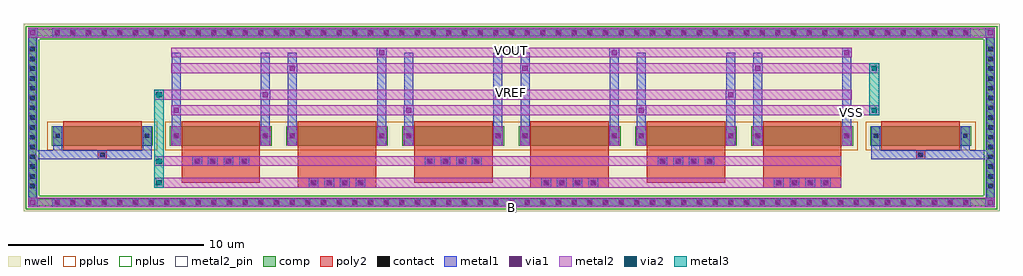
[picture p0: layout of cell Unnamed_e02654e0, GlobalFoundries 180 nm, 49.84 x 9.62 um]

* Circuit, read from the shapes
.subckt Unnamed_e02654e0 B VOUT VREF VSS
XM1 B B B B pfet_03v3 w=1u l=4u m=2
XM2 VREF VREF VSS B pfet_03v3 w=1u l=4u m=3
XM3 VOUT VREF VSS B pfet_03v3 w=1u l=4u m=3
.ends

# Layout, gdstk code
import gdstk
lib = gdstk.Library(unit=1e-6, precision=5e-09)
def R(c, l, rs):  # rectangles x0, y0, x1, y1
    for r in rs: c.add(gdstk.rectangle(r[:2], r[2:], *l))
def A(c, l, x, y, w, h, nx, ny, dx, dy):  # array of equal rectangles
    R(c, l, [(x+i*dx, y+j*dy, x+i*dx+w, y+j*dy+h) for i in range(nx) for j in range(ny)])
def P(c, l, *ps):  # polygons
    for p in ps: c.add(gdstk.Polygon(p, *l))
nwell = (21, 0)
comp = (22, 0)
poly2 = (30, 0)
pplus = (31, 0)
nplus = (32, 0)
contact = (33, 0)
metal1 = (34, 0)
via1 = (35, 0)
metal2 = (36, 0)
metal2_pin = (36, 10)
via2 = (38, 0)
metal3 = (42, 0)

unnamed_e02654e0 = lib.new_cell('Unnamed_e02654e0')
R(unnamed_e02654e0, nwell, [(-24.92,-4.79,24.92,4.79), (-24.76,-4.63,24.76,4.63), (-23.82,-3.69,23.82,3.69)])
A(unnamed_e02654e0, comp, -23.38, -4.51, 0.36, 0.36, 59, 2, 0.8, 8.66)
A(unnamed_e02654e0, comp, -24.64, -3.68, 0.36, 0.36, 1, 15, 0, 0.5)
A(unnamed_e02654e0, comp, 24.28, -3.68, 0.36, 0.36, 1, 15, 0, 0.5)
A(unnamed_e02654e0, comp, -17.45, -1.43, 5.2, 1, 6, 1, 5.94, 0)
R(unnamed_e02654e0, comp, [(-23.38,-4.51,23.38,-4.15), (-24.64,-3.68,-24.28,3.68), (24.28,-3.68,24.64,3.68), (-23.47,-1.43,-18.31,-0.43), (18.31,-1.43,23.47,-0.43), (-23.38,4.15,23.38,4.51)])
P(unnamed_e02654e0, comp, [(24.64,4.51),(-24.64,4.51),(-24.64,-4.15),(-24.28,-4.15),(-24.28,4.15),(24.28,4.15),(24.28,-4.15),(-24.28,-4.15),(-24.64,-4.15),(-24.64,-4.51),(24.64,-4.51)])
A(unnamed_e02654e0, poly2, -10.91, -3.57, 4, 0.5, 3, 1, 11.88, 0)
A(unnamed_e02654e0, poly2, -10.29, -3.5, 0.36, 0.36, 4, 1, 0.8, 0)
A(unnamed_e02654e0, poly2, 1.59, -3.5, 0.36, 0.36, 4, 1, 0.8, 0)
A(unnamed_e02654e0, poly2, 13.47, -3.5, 0.36, 0.36, 4, 1, 0.8, 0)
A(unnamed_e02654e0, poly2, -16.85, -3.32, 4, 1.65, 3, 1, 11.88, 0)
A(unnamed_e02654e0, poly2, -10.91, -3.07, 4, 1.4, 3, 1, 11.88, 0)
A(unnamed_e02654e0, poly2, -16.85, -2.47, 4, 0.5, 3, 1, 11.88, 0)
A(unnamed_e02654e0, poly2, -16.23, -2.4, 0.36, 0.36, 4, 1, 0.8, 0)
A(unnamed_e02654e0, poly2, -4.35, -2.4, 0.36, 0.36, 4, 1, 0.8, 0)
A(unnamed_e02654e0, poly2, 7.53, -2.4, 0.36, 0.36, 4, 1, 0.8, 0)
A(unnamed_e02654e0, poly2, -16.85, -1.97, 4, 0.3, 3, 1, 11.88, 0)
A(unnamed_e02654e0, poly2, -16.85, -1.67, 4, 1.48, 6, 1, 5.94, 0)
R(unnamed_e02654e0, poly2, [(-21.12,-2.13,-20.66,-1.67), (20.66,-2.13,21.12,-1.67), (-21.07,-2.08,-20.71,-1.72), (20.71,-2.08,21.07,-1.72), (-22.89,-1.67,-18.89,-0.19), (18.89,-1.67,22.89,-0.19)])
A(unnamed_e02654e0, pplus, -17.68, -1.66, 5.66, 1.46, 6, 1, 5.94, 0)
R(unnamed_e02654e0, pplus, [(-23.7,-1.66,-18.08,-0.2), (-17.68,-1.66,17.68,-0.2), (18.08,-1.66,23.7,-0.2)])
P(unnamed_e02654e0, nplus, [(24.8,4.67),(-24.8,4.67),(-24.8,-3.99),(-24.12,-3.99),(-24.12,3.99),(24.12,3.99),(24.12,-3.99),(-24.12,-3.99),(-24.8,-3.99),(-24.8,-4.67),(24.8,-4.67)])
A(unnamed_e02654e0, contact, -23.31, -4.44, 0.22, 0.22, 59, 2, 0.8, 8.66)
A(unnamed_e02654e0, contact, -24.57, -3.61, 0.22, 0.22, 1, 15, 0, 0.5)
A(unnamed_e02654e0, contact, 24.35, -3.61, 0.22, 0.22, 1, 15, 0, 0.5)
A(unnamed_e02654e0, contact, -10.22, -3.43, 0.22, 0.22, 4, 1, 0.8, 0)
A(unnamed_e02654e0, contact, 1.66, -3.43, 0.22, 0.22, 4, 1, 0.8, 0)
A(unnamed_e02654e0, contact, 13.54, -3.43, 0.22, 0.22, 4, 1, 0.8, 0)
A(unnamed_e02654e0, contact, -16.16, -2.33, 0.22, 0.22, 4, 1, 0.8, 0)
A(unnamed_e02654e0, contact, -4.28, -2.33, 0.22, 0.22, 4, 1, 0.8, 0)
A(unnamed_e02654e0, contact, 7.6, -2.33, 0.22, 0.22, 4, 1, 0.8, 0)
R(unnamed_e02654e0, contact, [(-21,-2.01,-20.78,-1.79), (20.78,-2.01,21,-1.79), (-23.28,-1.04,-23.06,-0.82), (-18.72,-1.04,-18.5,-0.82), (-17.24,-1.04,-17.02,-0.82), (-12.68,-1.04,-12.46,-0.82), (-11.3,-1.04,-11.08,-0.82), (-6.74,-1.04,-6.52,-0.82), (-5.36,-1.04,-5.14,-0.82), (-0.8,-1.04,-0.58,-0.82), (0.58,-1.04,0.8,-0.82), (5.14,-1.04,5.36,-0.82), (6.52,-1.04,6.74,-0.82), (11.08,-1.04,11.3,-0.82), (12.46,-1.04,12.68,-0.82), (17.02,-1.04,17.24,-0.82), (18.5,-1.04,18.72,-0.82), (23.06,-1.04,23.28,-0.82)])
A(unnamed_e02654e0, metal1, -23.45, -4.58, 0.5, 0.5, 59, 2, 0.8, 8.66)
A(unnamed_e02654e0, metal1, -24.69, -3.73, 0.46, 0.46, 1, 15, 0, 0.5)
A(unnamed_e02654e0, metal1, 24.23, -3.73, 0.46, 0.46, 1, 15, 0, 0.5)
A(unnamed_e02654e0, metal1, -10.36, -3.57, 0.5, 0.5, 4, 1, 0.8, 0)
A(unnamed_e02654e0, metal1, 1.52, -3.57, 0.5, 0.5, 4, 1, 0.8, 0)
A(unnamed_e02654e0, metal1, 13.4, -3.57, 0.5, 0.5, 4, 1, 0.8, 0)
A(unnamed_e02654e0, metal1, -16.3, -2.47, 0.5, 0.5, 4, 1, 0.8, 0)
A(unnamed_e02654e0, metal1, -4.42, -2.47, 0.5, 0.5, 4, 1, 0.8, 0)
A(unnamed_e02654e0, metal1, 7.46, -2.47, 0.5, 0.5, 4, 1, 0.8, 0)
A(unnamed_e02654e0, metal1, -17.36, -0.43, 0.46, 1.05, 3, 1, 11.88, 0)
A(unnamed_e02654e0, metal1, -12.8, -0.43, 0.46, 1.85, 3, 1, 11.88, 0)
A(unnamed_e02654e0, metal1, -11.42, -0.43, 0.46, 3.2, 3, 1, 11.88, 0)
A(unnamed_e02654e0, metal1, -6.86, -0.43, 0.46, 4, 3, 1, 11.88, 0)
A(unnamed_e02654e0, metal1, -17.38, 0.12, 0.5, 0.5, 3, 1, 11.88, 0)
A(unnamed_e02654e0, metal1, -12.82, 0.92, 0.5, 0.5, 3, 1, 11.88, 0)
A(unnamed_e02654e0, metal1, -11.44, 2.27, 0.5, 0.5, 3, 1, 11.88, 0)
A(unnamed_e02654e0, metal1, -6.88, 3.07, 0.5, 0.5, 3, 1, 11.88, 0)
R(unnamed_e02654e0, metal1, [(-24.69,-4.58,-24.19,-4.08), (-24.69,-4.58,-24.19,-4.08), (-24.69,-4.58,-24.23,-4.15), (-23.45,-4.58,23.45,-4.08), (24.19,-4.58,24.69,-4.08), (24.19,-4.58,24.69,-4.08), (24.23,-4.58,24.69,-4.15), (-24.69,-4.15,-24.23,4.15), (24.23,-4.15,24.69,4.15), (-24.69,-2.13,-21.12,-1.67), (-23.4,-2.13,-21.12,-1.67), (-23.4,-2.13,-22.94,-1.43), (-21.12,-2.13,-20.66,-1.67), (-20.66,-2.13,-18.38,-1.67), (-18.84,-2.13,-18.38,-1.43), (18.38,-2.13,20.66,-1.67), (18.38,-2.13,18.84,-1.43), (20.66,-2.13,21.12,-1.67), (21.12,-2.13,23.4,-1.67), (21.12,-2.13,24.69,-1.67), (22.94,-2.13,23.4,-1.43), (-23.4,-1.43,-22.94,-0.43), (-18.84,-1.43,-18.38,-0.43), (-17.36,-1.43,-16.9,-0.43), (-12.8,-1.43,-12.34,-0.43), (-11.42,-1.43,-10.96,-0.43), (-6.86,-1.43,-6.4,-0.43), (-5.48,-1.43,-5.02,-0.43), (-0.92,-1.43,-0.46,-0.43), (0.46,-1.43,0.92,-0.43), (5.02,-1.43,5.48,-0.43), (6.4,-1.43,6.86,-0.43), (10.96,-1.43,11.42,-0.43), (12.34,-1.43,12.8,-0.43), (16.9,-1.43,17.36,-0.43), (18.38,-1.43,18.84,-0.43), (22.94,-1.43,23.4,-0.43), (-17.38,-1.18,-16.88,-0.68), (-17.38,-1.18,-16.88,-0.68), (-12.82,-1.18,-12.32,-0.68), (-12.82,-1.18,-12.32,-0.68), (-11.44,-1.18,-10.94,-0.68), (-11.44,-1.18,-10.94,-0.68), (-6.88,-1.18,-6.38,-0.68), (-6.88,-1.18,-6.38,-0.68), (-5.5,-1.18,-5,-0.68), (-5.5,-1.18,-5,-0.68), (-0.94,-1.18,-0.44,-0.68), (-0.94,-1.18,-0.44,-0.68), (0.44,-1.18,0.94,-0.68), (0.44,-1.18,0.94,-0.68), (5,-1.18,5.5,-0.68), (5,-1.18,5.5,-0.68), (6.38,-1.18,6.88,-0.68), (6.38,-1.18,6.88,-0.68), (10.94,-1.18,11.44,-0.68), (10.94,-1.18,11.44,-0.68), (12.32,-1.18,12.82,-0.68), (12.32,-1.18,12.82,-0.68), (16.88,-1.18,17.38,-0.68), (16.88,-1.18,17.38,-0.68), (-23.4,-1.16,-22.94,-0.7), (-18.84,-1.16,-18.38,-0.7), (-17.36,-1.16,-16.9,-0.7), (-12.8,-1.16,-12.34,-0.7), (-11.42,-1.16,-10.96,-0.7), (-6.86,-1.16,-6.4,-0.7), (-5.48,-1.16,-5.02,-0.7), (-0.92,-1.16,-0.46,-0.7), (0.46,-1.16,0.92,-0.7), (5.02,-1.16,5.48,-0.7), (6.4,-1.16,6.86,-0.7), (10.96,-1.16,11.42,-0.7), (12.34,-1.16,12.8,-0.7), (16.9,-1.16,17.36,-0.7), (18.38,-1.16,18.84,-0.7), (22.94,-1.16,23.4,-0.7), (-17.36,-0.43,-16.9,3.32), (-12.8,-0.43,-12.34,3.32), (-11.42,-0.43,-10.96,3.32), (-6.86,-0.43,-6.4,3.32), (-5.48,-0.43,-5.02,3.32), (-0.92,-0.43,-0.46,3.32), (0.46,-0.43,0.92,3.32), (5.02,-0.43,5.48,3.32), (6.4,-0.43,6.86,3.32), (10.96,-0.43,11.42,3.32), (12.34,-0.43,12.8,3.32), (16.9,-0.43,17.36,3.32), (-24.69,4.08,-24.19,4.58), (-24.69,4.08,-24.19,4.58), (-23.45,4.08,23.45,4.58), (24.19,4.08,24.69,4.58), (24.19,4.08,24.69,4.58), (-24.69,4.15,-24.23,4.58), (24.23,4.15,24.69,4.58)])
A(unnamed_e02654e0, via1, -23.33, -4.46, 0.26, 0.26, 59, 2, 0.8, 8.66)
A(unnamed_e02654e0, via1, -10.24, -3.45, 0.26, 0.26, 4, 1, 0.8, 0)
A(unnamed_e02654e0, via1, 1.64, -3.45, 0.26, 0.26, 4, 1, 0.8, 0)
A(unnamed_e02654e0, via1, 13.52, -3.45, 0.26, 0.26, 4, 1, 0.8, 0)
A(unnamed_e02654e0, via1, -16.18, -2.35, 0.26, 0.26, 4, 1, 0.8, 0)
A(unnamed_e02654e0, via1, -4.3, -2.35, 0.26, 0.26, 4, 1, 0.8, 0)
A(unnamed_e02654e0, via1, 7.58, -2.35, 0.26, 0.26, 4, 1, 0.8, 0)
A(unnamed_e02654e0, via1, -17.26, 0.24, 0.26, 0.26, 3, 1, 11.88, 0)
A(unnamed_e02654e0, via1, -12.7, 1.04, 0.26, 0.26, 3, 1, 11.88, 0)
A(unnamed_e02654e0, via1, -11.32, 2.39, 0.26, 0.26, 3, 1, 11.88, 0)
A(unnamed_e02654e0, via1, -6.76, 3.19, 0.26, 0.26, 3, 1, 11.88, 0)
R(unnamed_e02654e0, via1, [(-24.57,-4.46,-24.31,-4.2), (24.31,-4.46,24.57,-4.2), (-17.26,-1.06,-17,-0.8), (-12.7,-1.06,-12.44,-0.8), (-11.32,-1.06,-11.06,-0.8), (-6.76,-1.06,-6.5,-0.8), (-5.38,-1.06,-5.12,-0.8), (-0.82,-1.06,-0.56,-0.8), (0.56,-1.06,0.82,-0.8), (5.12,-1.06,5.38,-0.8), (6.5,-1.06,6.76,-0.8), (11.06,-1.06,11.32,-0.8), (12.44,-1.06,12.7,-0.8), (17,-1.06,17.26,-0.8), (-24.57,4.2,-24.31,4.46), (24.31,4.2,24.57,4.46)])
A(unnamed_e02654e0, metal2, -23.45, -4.58, 0.5, 0.5, 59, 2, 0.8, 8.66)
A(unnamed_e02654e0, metal2, -10.91, -3.57, 4, 0.5, 3, 1, 11.88, 0)
A(unnamed_e02654e0, metal2, -10.36, -3.57, 0.5, 0.5, 4, 1, 0.8, 0)
A(unnamed_e02654e0, metal2, 1.52, -3.57, 0.5, 0.5, 4, 1, 0.8, 0)
A(unnamed_e02654e0, metal2, 13.4, -3.57, 0.5, 0.5, 4, 1, 0.8, 0)
A(unnamed_e02654e0, metal2, -16.85, -2.47, 4, 0.5, 3, 1, 11.88, 0)
A(unnamed_e02654e0, metal2, -16.3, -2.47, 0.5, 0.5, 4, 1, 0.8, 0)
A(unnamed_e02654e0, metal2, -4.42, -2.47, 0.5, 0.5, 4, 1, 0.8, 0)
A(unnamed_e02654e0, metal2, 7.46, -2.47, 0.5, 0.5, 4, 1, 0.8, 0)
A(unnamed_e02654e0, metal2, -17.38, 0.12, 0.5, 0.5, 3, 1, 11.88, 0)
A(unnamed_e02654e0, metal2, -17.38, 0.12, 5.06, 0.5, 3, 2, 11.88, 0.8)
A(unnamed_e02654e0, metal2, -12.82, 0.92, 0.5, 0.5, 3, 1, 11.88, 0)
A(unnamed_e02654e0, metal2, -11.44, 2.27, 0.5, 0.5, 3, 1, 11.88, 0)
A(unnamed_e02654e0, metal2, -11.44, 2.27, 5.06, 0.5, 3, 2, 11.88, 0.8)
A(unnamed_e02654e0, metal2, -6.88, 3.07, 0.5, 0.5, 3, 1, 11.88, 0)
R(unnamed_e02654e0, metal2, [(-24.69,-4.58,-24.19,-4.08), (-24.69,-4.58,-24.19,-4.08), (-24.69,-4.58,-24.28,-4.08), (-24.28,-4.58,24.28,-4.08), (24.19,-4.58,24.69,-4.08), (24.19,-4.58,24.69,-4.08), (24.28,-4.58,24.69,-4.08), (-18.25,-3.57,-17.75,-3.07), (-18.25,-3.57,-16.85,-3.07), (-16.85,-3.57,16.85,-3.07), (-18.25,-2.47,-17.75,-1.97), (-18.25,-2.47,-16.85,-1.97), (-16.85,-2.47,16.85,-1.97), (-17.38,-1.43,-16.88,-0.43), (-12.82,-1.43,-12.32,-0.43), (-11.44,-1.43,-10.94,-0.43), (-6.88,-1.43,-6.38,-0.43), (-5.5,-1.43,-5,-0.43), (-0.94,-1.43,-0.44,-0.43), (0.44,-1.43,0.94,-0.43), (5,-1.43,5.5,-0.43), (6.38,-1.43,6.88,-0.43), (10.94,-1.43,11.44,-0.43), (12.32,-1.43,12.82,-0.43), (16.88,-1.43,17.38,-0.43), (-17.38,-1.18,-16.88,-0.68), (-12.82,-1.18,-12.32,-0.68), (-11.44,-1.18,-10.94,-0.68), (-6.88,-1.18,-6.38,-0.68), (-5.5,-1.18,-5,-0.68), (-0.94,-1.18,-0.44,-0.68), (0.44,-1.18,0.94,-0.68), (5,-1.18,5.5,-0.68), (6.38,-1.18,6.88,-0.68), (10.94,-1.18,11.44,-0.68), (12.32,-1.18,12.82,-0.68), (16.88,-1.18,17.38,-0.68), (-17.38,0.12,17.38,0.62), (17.38,0.12,18.78,0.62), (18.28,0.12,18.78,0.62), (-18.25,0.92,-17.75,1.42), (-18.25,0.92,-17.75,1.42), (-18.25,0.92,-17.38,1.42), (-17.38,0.92,17.38,1.42), (-17.38,2.27,17.38,2.77), (17.38,2.27,18.78,2.77), (18.28,2.27,18.78,2.77), (-17.38,3.07,17.38,3.57), (-24.69,4.08,-24.19,4.58), (-24.69,4.08,-24.19,4.58), (-24.69,4.08,-24.28,4.58), (-24.28,4.08,24.28,4.58), (24.19,4.08,24.69,4.58), (24.19,4.08,24.69,4.58), (24.28,4.08,24.69,4.58)])
R(unnamed_e02654e0, metal2_pin, [(-0.25,-4.83,0.25,-4.33), (17.245,0.12,17.515,0.39), (-0.135,1.15,0.135,1.42), (-0.135,3.3,0.135,3.57)])
R(unnamed_e02654e0, via2, [(-18.13,-3.45,-17.87,-3.19), (-18.13,-2.35,-17.87,-2.09), (18.4,0.24,18.66,0.5), (-18.13,1.04,-17.87,1.3), (18.4,2.39,18.66,2.65)])
R(unnamed_e02654e0, metal3, [(-18.25,-3.57,-17.75,-3.07), (-18.25,-3.57,-17.75,-3.07), (-18.25,-3.57,-17.75,-1.97), (-18.25,-2.47,-17.75,-1.97), (-18.25,-2.47,-17.75,-1.97), (-18.25,-1.97,-17.75,1.42), (18.28,0.12,18.78,0.62), (18.28,0.12,18.78,0.62), (18.28,0.12,18.78,2.77), (-18.25,0.92,-17.75,1.42), (-18.25,0.92,-17.75,1.42), (18.28,2.27,18.78,2.77), (18.28,2.27,18.78,2.77)])
P(unnamed_e02654e0, metal3, [(18.78,0.12),(18.78,0.12),(18.78,0.62),(18.78,0.62)],
  [(18.78,2.27),(18.78,2.27),(18.78,2.77),(18.78,2.77)],
  [(-17.75,-3.57),(-17.75,-3.57),(-17.75,-3.07),(-17.75,-3.07)],
  [(-17.75,-2.47),(-17.75,-2.47),(-17.75,-1.97),(-17.75,-1.97)])
unnamed_e02654e0.add(gdstk.Label('B', (0,-4.58), layer=36, texttype=10))
unnamed_e02654e0.add(gdstk.Label('VOUT', (0,3.435), layer=36, texttype=10))
unnamed_e02654e0.add(gdstk.Label('VREF', (0,1.285), layer=36, texttype=10))
unnamed_e02654e0.add(gdstk.Label('VSS', (17.38,0.255), layer=36, texttype=10))

lib.write_gds('Unnamed_e02654e0.gds')
